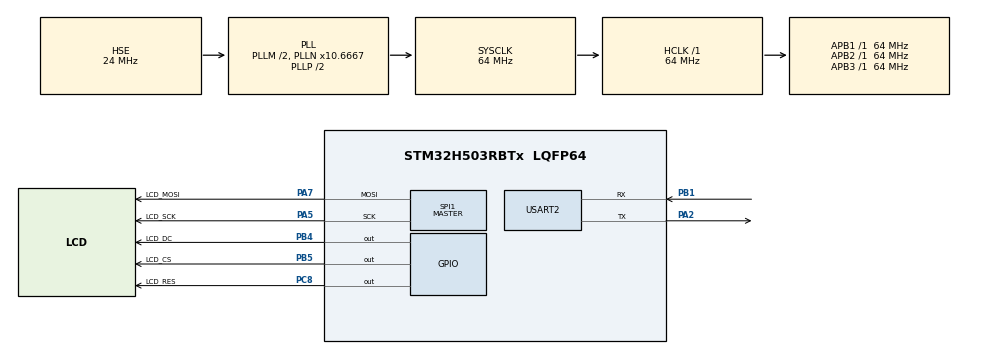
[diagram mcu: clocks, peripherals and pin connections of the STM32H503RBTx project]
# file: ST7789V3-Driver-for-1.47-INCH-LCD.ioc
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BOOTPATH.BootPathName=LEGACY
BOOTPATH.UserSelectedBootPath=LEGACY
GPDMA1.DIRECTION_GPDMACH7=DMA_MEMORY_TO_PERIPH
GPDMA1.IPHANDLE_GPDMACH7-SIMPLEREQUEST_GPDMACH7=__NULL
GPDMA1.REQUEST_GPDMACH7=GPDMA1_REQUEST_SPI1_TX
GPDMA1.SRCINC_GPDMACH7=DMA_SINC_INCREMENTED
Mcu.Family=STM32H5
Mcu.Name=STM32H503RBTx
Mcu.Package=LQFP64
NVIC.GPDMA1_Channel7_IRQn=true\:0\:0\:false\:false\:true\:false\:true\:true
NVIC.ICACHE_IRQn=true\:0\:0\:false\:false\:true\:true\:true\:true
NVIC.PriorityGroup=NVIC_PRIORITYGROUP_4
NVIC.SPI1_IRQn=true\:0\:0\:false\:false\:true\:true\:true\:true
PA13(JTMS/SWDIO).GPIO_Label=T_SWDIO
PA13(JTMS/SWDIO).Signal=DEBUG_JTMS-SWDIO
PA14(JTCK/SWCLK).GPIO_Label=T_SWCLK
PA14(JTCK/SWCLK).Signal=DEBUG_JTCK-SWCLK
PA15(JTDI).GPIO_Label=T_JTDI
PA15(JTDI).Signal=DEBUG_JTDI
PA2.Mode=Asynchronous
PA2.Signal=USART2_TX
PA3.GPIO_Label=T_VCP_RX
PA3.Signal=USART3_RX
PA4.GPIO_Label=T_VCP_TX
PA4.Signal=USART3_TX
PA5.GPIO_Label=LCD_SCK
PA5.GPIO_Speed=GPIO_SPEED_FREQ_HIGH
PA5.Mode=TX_Only_Simplex_Unidirect_Master
PA5.Signal=SPI1_SCK
PA7.GPIO_Label=LCD_MOSI
PA7.GPIO_Speed=GPIO_SPEED_FREQ_HIGH
PA7.Mode=TX_Only_Simplex_Unidirect_Master
PA7.Signal=SPI1_MOSI
PB1.Mode=Asynchronous
PB1.Signal=USART2_RX
PB14.GPIO_Label=ARD_D1_TX
PB14.Signal=USART1_TX
PB15.GPIO_Label=ARD_D0_RX
PB15.Signal=USART1_RX
PB3(JTDO/TRACESWO).GPIO_Label=T_SWO
PB3(JTDO/TRACESWO).Signal=DEBUG_JTDO-SWO
PB4(NJTRST).GPIO_Label=LCD_DC
PB4(NJTRST).GPIO_Speed=GPIO_SPEED_FREQ_HIGH
PB4(NJTRST).Signal=GPIO_Output
PB5.GPIO_Label=LCD_CS
PB5.GPIO_Speed=GPIO_SPEED_FREQ_HIGH
PB5.PinState=GPIO_PIN_SET
PB5.Signal=GPIO_Output
PC8.GPIO_Label=LCD_RES
PC8.GPIO_Speed=GPIO_SPEED_FREQ_HIGH
PC8.Signal=GPIO_Output
PH0-OSC_IN(PH0).Mode=HSE-External-Oscillator
PH0-OSC_IN(PH0).Signal=RCC_OSC_IN
PH1-OSC_OUT(PH1).Mode=HSE-External-Oscillator
PH1-OSC_OUT(PH1).Signal=RCC_OSC_OUT
ProjectManager.HeapSize=0x200
ProjectManager.StackSize=0x400
ProjectManager.TargetToolchain=CMake
RCC.ADCFreq_Value=64000488.28125
RCC.AHBFreq_Value=64000488.28125
RCC.APB1Freq_Value=64000488.28125
RCC.APB1TimFreq_Value=64000488.28125
RCC.APB2Freq_Value=64000488.28125
RCC.APB2TimFreq_Value=64000488.28125
RCC.APB3Freq_Value=64000488.28125
RCC.CSI_VALUE=4000000
RCC.CortexFreq_Value=64000488.28125
RCC.EPOD_VALUE=24000000
RCC.HCLKFreq_Value=64000488.28125
RCC.HSE_VALUE=24000000
RCC.HSI48_VALUE=48000000
RCC.HSIDiv=RCC_HSI_DIV1
RCC.HSI_VALUE=64000000
RCC.LSE_VALUE=32768
RCC.LSIRC_VALUE=32000
RCC.PLL1Q=3
RCC.PLLFRACN=5462
RCC.PLLM=2
RCC.PLLN=10
RCC.PLLSourceVirtual=RCC_PLL1_SOURCE_HSE
RCC.SYSCLKFreq_VALUE=64000488.28125
RCC.SYSCLKSource=RCC_SYSCLKSOURCE_PLLCLK
RCC.USBFreq_Value=48000000
RCC.VCOOutputFreq_Value=128000976.5625
SPI1.BaudRatePrescaler=SPI_BAUDRATEPRESCALER_2
SPI1.CalculateBaudRate=21.333496 MBits/s
SPI1.DataSize=SPI_DATASIZE_8BIT
SPI1.Direction=SPI_DIRECTION_2LINES_TXONLY
SPI1.Mode=SPI_MODE_MASTER
SPI1.VirtualType=VM_MASTER
USART2.VirtualMode-Asynchronous=VM_ASYNC
VP_BOOTPATH_VS_BOOTPATH.Mode=BP_Activate
VP_CORTEX_M33_NS_VS_Hclk.Mode=Hclk_Mode
VP_GPDMA1_VS_GPDMACH7.Mode=SIMPLEREQUEST_GPDMACH7
VP_ICACHE_VS_ICACHE.Mode=DefaultMode
VP_MEMORYMAP_VS_MEMORYMAP.Mode=CurAppReg
VP_PWR_VS_LPOM.Mode=PowerOptimisation
VP_PWR_VS_SECSignals.Mode=Security/Privilege
board=NUCLEO-H503RB

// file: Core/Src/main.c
/* USER CODE BEGIN Header */
/**
 ******************************************************************************
 * @file           : main.c
 * @brief          : Main program body
 ******************************************************************************
 * @attention
 *
 * Copyright (c) 2026 STMicroelectronics.
 * All rights reserved.
 *
 * This software is licensed under terms that can be found in the LICENSE file
 * in the root directory of this software component.
 * If no LICENSE file comes with this software, it is provided AS-IS.
 *
 ******************************************************************************
 */
/* USER CODE END Header */
#include "main.h"

/* USER CODE BEGIN Includes */
#include <stdio.h>

#include "ST7789V3.h"
#include "fonts/fonts.h"

/* USER CODE END Includes */

/* USER CODE BEGIN PD */
#define DEMO_BG 0x040B12U
#define DEMO_TITLE_BG 0x0B1523U
#define DEMO_PANEL_BG 0x091624U
#define DEMO_EDGE 0x1D5168U
#define DEMO_TEXT 0xD4F3FFU
#define DEMO_ACCENT 0x3CEBFFU
#define DEMO_SOFT 0x177C93U
#define DEMO_GOLD 0xFFD166U
#define DEMO_WARN 0xFF6B3DU

/* USER CODE END PD */

SPI_HandleTypeDef hspi1;
DMA_HandleTypeDef handle_GPDMA1_Channel7;

UART_HandleTypeDef huart2;

void SystemClock_Config(void);
static void MX_GPIO_Init(void);
static void MX_GPDMA1_Init(void);
static void MX_USART2_UART_Init(void);
static void MX_SPI1_Init(void);
static void MX_ICACHE_Init(void);

/* USER CODE BEGIN 0 */

ST7789V3_Config config;

int8_t set_cs(ST7789V3_PinState state) {
  HAL_GPIO_WritePin(LCD_CS_GPIO_Port, LCD_CS_Pin, state);
  return 0;
}

int8_t set_dc(ST7789V3_Trans_State state) {
  HAL_GPIO_WritePin(LCD_DC_GPIO_Port, LCD_DC_Pin, state);
  return 0;
}
int8_t set_rst(ST7789V3_PinState state) {
  HAL_GPIO_WritePin(LCD_RES_GPIO_Port, LCD_RES_Pin, state);
  return 0;
}

int8_t spi_write(uint16_t len, const uint8_t *pData) {
  uint8_t status = HAL_SPI_Transmit(&hspi1, pData, len, HAL_MAX_DELAY);

  if (status != HAL_OK) {
    return -1;
  }

  return 0;
}

int8_t spi_write_dma(uint16_t len, const uint8_t *pData) {
  if (HAL_SPI_Transmit_DMA(&hspi1, pData, len) != HAL_OK) {
    return -1;
  }
  return 0;
}

// Called by HAL when DMA transfer finishes — routes into the driver
void HAL_SPI_TxCpltCallback(SPI_HandleTypeDef *hspi) {
  if (hspi->Instance == SPI1) {
    ST7789V3_DMA_Complete(&config);
  }
}

void HAL_SPI_ErrorCallback(SPI_HandleTypeDef *hspi) {
  if (hspi->Instance == SPI1) {
    ST7789V3_DMA_Error(&config);
  }
}

// backlight default on

// int8_t set_backlight(GPIO_Pinstate state) {
//   HAL_GPIO_WritePin(LCD_CS_GPIO_Port, LCD_CS_Pin, state);
// }

static uint8_t DemoTriangle8(uint16_t phase) {
  phase &= 0x01FFU;
  return (phase < 256U) ? (uint8_t)phase : (uint8_t)(511U - phase);
}

static uint16_t DemoWaveRange(uint16_t phase, uint16_t min, uint16_t max) {
  uint16_t span = max - min;
  return min + (((uint32_t)DemoTriangle8(phase) * span) / 255U);
}

static void DemoDrawStaticScene(void) {
  FillScreen(&config, DEMO_BG);

  DrawFilledRectangle(&config, 0, 0, 320, 22, DEMO_TITLE_BG);
  DrawLine(&config, 0, 22, 319, 22, DEMO_EDGE);

  DrawString(&config, 10, 3, "ST7789V3", DEMO_ACCENT, &Font_16x16);
  DrawString(&config, 154, 7, "COUNT", DEMO_TEXT, &Font_8x8);

  DrawRectangle(&config, 55, 28, 210, 96, DEMO_EDGE);
  DrawLine(&config, 55, 46, 264, 46, DEMO_EDGE);
  DrawString(&config, 116, 33, "RECORDING IN", DEMO_GOLD, &Font_8x8);

  DrawRectangle(&config, 39, 150, 242, 14, DEMO_EDGE);
  DrawString(&config, 12, 154, "LOOP", DEMO_TEXT, &Font_8x8);
  DrawString(&config, 286, 154, "GO", DEMO_TEXT, &Font_8x8);
}

static void DemoDrawCountdownFrame(uint32_t elapsed_ms) {
  char text[24];
  uint32_t cycle_ms = 11000U;
  uint32_t phase_ms = elapsed_ms % cycle_ms;
  uint16_t remaining = (uint16_t)(10U - (phase_ms / 1000U));
  uint16_t ring = DemoWaveRange((uint16_t)(remaining * 41U), 18U, 34U);
  uint16_t progress = (uint16_t)(((cycle_ms - phase_ms) * 236U) / cycle_ms);
  uint16_t number_width = (remaining >= 10U) ? 96U : 48U;
  uint16_t number_x = (uint16_t)(160U - (number_width / 2U));
  uint32_t accent = (remaining <= 3U) ? DEMO_WARN : DEMO_ACCENT;

  DrawFilledRectangle(&config, 58, 49, 204, 72, DEMO_PANEL_BG);
  DrawCircle(&config, 160, 85, 36, DEMO_SOFT);
  DrawCircle(&config, 160, 85, ring, accent);
  DrawFilledCircle(&config, 160, 85, 8, accent);

  snprintf(text, sizeof(text), "%u", (unsigned int)remaining);
  DrawString(&config, number_x, 60, text, DEMO_TEXT, &Font_48x48);

  DrawFilledRectangle(&config, 20, 126, 280, 14, DEMO_BG);
  snprintf(text, sizeof(text), "NEXT LOOP IN %u SEC",
           (unsigned int)remaining);
  DrawString(&config, 89, 128, text, accent, &Font_8x8);

  DrawFilledRectangle(&config, 42, 153, 236, 8, DEMO_PANEL_BG);
  if (progress > 0U) {
    DrawFilledRectangle(&config, 42, 153, progress, 8, accent);
  }

  DrawFilledRectangle(&config, 214, 4, 96, 14, DEMO_TITLE_BG);
  if ((remaining == 0U) && (((phase_ms / 150U) & 1U) != 0U)) {
    DrawString(&config, 226, 6, "CAPTURE", DEMO_WARN, &Font_8x8);
  } else {
    DrawString(&config, 232, 6, "READY", DEMO_GOLD, &Font_8x8);
  }
}

/* USER CODE END 0 */

int main(void)
{

  /* USER CODE BEGIN 1 */
  config.set_cs = set_cs;
  config.set_dc = set_dc;
  config.set_rst = set_rst;

  config.spi_write = spi_write;
  config.spi_write_dma = spi_write_dma;  // Set to NULL to disable DMA
  config.delay_ms = HAL_Delay;
  config.State = ST7789_STATE_READY;

  config.LCD_Width = 172;
  config.LCD_Height = 320;

  /* USER CODE END 1 */

  /* MCU Configuration--------------------------------------------------------*/

  /* Reset of all peripherals, Initializes the Flash interface and the Systick. */
  HAL_Init();

  /* Configure the system clock */
  SystemClock_Config();

  /* Initialize all configured peripherals */
  MX_GPIO_Init();
  MX_GPDMA1_Init();
  MX_USART2_UART_Init();
  MX_SPI1_Init();
  MX_ICACHE_Init();
  /* USER CODE BEGIN 2 */
  ST7789V3_init(&config);
  InvertDisplay(&config, INVOFF);
  SetRotation(&config, Landscape);
  DemoDrawStaticScene();
  DemoDrawCountdownFrame(0U);

  /* USER CODE END 2 */

  /* Infinite loop */
  /* USER CODE BEGIN WHILE */
  while (1) {
    static uint32_t last_second = 0xFFFFFFFFU;
    uint32_t elapsed_ms = HAL_GetTick();
    uint32_t current_second = elapsed_ms / 1000U;

    if (current_second != last_second) {
      DemoDrawCountdownFrame(elapsed_ms);
      last_second = current_second;
    }
    HAL_Delay(20);
    /* USER CODE END WHILE */

  }
}

void SystemClock_Config(void)
{
  RCC_OscInitTypeDef RCC_OscInitStruct = {0};
  RCC_ClkInitTypeDef RCC_ClkInitStruct = {0};

  /** Configure the main internal regulator output voltage
  */
  __HAL_PWR_VOLTAGESCALING_CONFIG(PWR_REGULATOR_VOLTAGE_SCALE3);

  while(!__HAL_PWR_GET_FLAG(PWR_FLAG_VOSRDY)) {}

  /** Initializes the RCC Oscillators according to the specified parameters
  * in the RCC_OscInitTypeDef structure.
  */
  RCC_OscInitStruct.OscillatorType = RCC_OSCILLATORTYPE_HSE;
  RCC_OscInitStruct.HSEState = RCC_HSE_ON;
  RCC_OscInitStruct.PLL.PLLState = RCC_PLL_ON;
  RCC_OscInitStruct.PLL.PLLSource = RCC_PLL1_SOURCE_HSE;
  RCC_OscInitStruct.PLL.PLLM = 2;
  RCC_OscInitStruct.PLL.PLLN = 10;
  RCC_OscInitStruct.PLL.PLLP = 2;
  RCC_OscInitStruct.PLL.PLLQ = 3;
  RCC_OscInitStruct.PLL.PLLR = 2;
  RCC_OscInitStruct.PLL.PLLRGE = RCC_PLL1_VCIRANGE_3;
  RCC_OscInitStruct.PLL.PLLVCOSEL = RCC_PLL1_VCORANGE_WIDE;
  RCC_OscInitStruct.PLL.PLLFRACN = 5462;
  if (HAL_RCC_OscConfig(&RCC_OscInitStruct) != HAL_OK)
  {
    Error_Handler();
  }

  /** Initializes the CPU, AHB and APB buses clocks
  */
  RCC_ClkInitStruct.ClockType = RCC_CLOCKTYPE_HCLK|RCC_CLOCKTYPE_SYSCLK
                              |RCC_CLOCKTYPE_PCLK1|RCC_CLOCKTYPE_PCLK2
                              |RCC_CLOCKTYPE_PCLK3;
  RCC_ClkInitStruct.SYSCLKSource = RCC_SYSCLKSOURCE_PLLCLK;
  RCC_ClkInitStruct.AHBCLKDivider = RCC_SYSCLK_DIV1;
  RCC_ClkInitStruct.APB1CLKDivider = RCC_HCLK_DIV1;
  RCC_ClkInitStruct.APB2CLKDivider = RCC_HCLK_DIV1;
  RCC_ClkInitStruct.APB3CLKDivider = RCC_HCLK_DIV1;

  if (HAL_RCC_ClockConfig(&RCC_ClkInitStruct, FLASH_LATENCY_3) != HAL_OK)
  {
    Error_Handler();
  }

  /** Configure the programming delay
  */
  __HAL_FLASH_SET_PROGRAM_DELAY(FLASH_PROGRAMMING_DELAY_1);
}

static void MX_GPDMA1_Init(void)
{

  /* Peripheral clock enable */
  __HAL_RCC_GPDMA1_CLK_ENABLE();

  /* GPDMA1 interrupt Init */
    HAL_NVIC_SetPriority(GPDMA1_Channel7_IRQn, 0, 0);
    HAL_NVIC_EnableIRQ(GPDMA1_Channel7_IRQn);

}

static void MX_ICACHE_Init(void)
{

  /** Enable instruction cache (default 2-ways set associative cache)
  */
  if (HAL_ICACHE_Enable() != HAL_OK)
  {
    Error_Handler();
  }

}

static void MX_SPI1_Init(void)
{

  /* SPI1 parameter configuration*/
  hspi1.Instance = SPI1;
  hspi1.Init.Mode = SPI_MODE_MASTER;
  hspi1.Init.Direction = SPI_DIRECTION_2LINES_TXONLY;
  hspi1.Init.DataSize = SPI_DATASIZE_8BIT;
  hspi1.Init.CLKPolarity = SPI_POLARITY_LOW;
  hspi1.Init.CLKPhase = SPI_PHASE_1EDGE;
  hspi1.Init.NSS = SPI_NSS_SOFT;
  hspi1.Init.BaudRatePrescaler = SPI_BAUDRATEPRESCALER_2;
  hspi1.Init.FirstBit = SPI_FIRSTBIT_MSB;
  hspi1.Init.TIMode = SPI_TIMODE_DISABLE;
  hspi1.Init.CRCCalculation = SPI_CRCCALCULATION_DISABLE;
  hspi1.Init.CRCPolynomial = 0x7;
  hspi1.Init.NSSPMode = SPI_NSS_PULSE_ENABLE;
  hspi1.Init.NSSPolarity = SPI_NSS_POLARITY_LOW;
  hspi1.Init.FifoThreshold = SPI_FIFO_THRESHOLD_01DATA;
  hspi1.Init.MasterSSIdleness = SPI_MASTER_SS_IDLENESS_00CYCLE;
  hspi1.Init.MasterInterDataIdleness = SPI_MASTER_INTERDATA_IDLENESS_00CYCLE;
  hspi1.Init.MasterReceiverAutoSusp = SPI_MASTER_RX_AUTOSUSP_DISABLE;
  hspi1.Init.MasterKeepIOState = SPI_MASTER_KEEP_IO_STATE_DISABLE;
  hspi1.Init.IOSwap = SPI_IO_SWAP_DISABLE;
  hspi1.Init.ReadyMasterManagement = SPI_RDY_MASTER_MANAGEMENT_INTERNALLY;
  hspi1.Init.ReadyPolarity = SPI_RDY_POLARITY_HIGH;
  if (HAL_SPI_Init(&hspi1) != HAL_OK)
  {
    Error_Handler();
  }

}

static void MX_USART2_UART_Init(void)
{

  huart2.Instance = USART2;
  huart2.Init.BaudRate = 115200;
  huart2.Init.WordLength = UART_WORDLENGTH_8B;
  huart2.Init.StopBits = UART_STOPBITS_1;
  huart2.Init.Parity = UART_PARITY_NONE;
  huart2.Init.Mode = UART_MODE_TX_RX;
  huart2.Init.HwFlowCtl = UART_HWCONTROL_NONE;
  huart2.Init.OverSampling = UART_OVERSAMPLING_16;
  huart2.Init.OneBitSampling = UART_ONE_BIT_SAMPLE_DISABLE;
  huart2.Init.ClockPrescaler = UART_PRESCALER_DIV1;
  huart2.AdvancedInit.AdvFeatureInit = UART_ADVFEATURE_NO_INIT;
  if (HAL_UART_Init(&huart2) != HAL_OK)
  {
    Error_Handler();
  }
  if (HAL_UARTEx_SetTxFifoThreshold(&huart2, UART_TXFIFO_THRESHOLD_1_8) != HAL_OK)
  {
    Error_Handler();
  }
  if (HAL_UARTEx_SetRxFifoThreshold(&huart2, UART_RXFIFO_THRESHOLD_1_8) != HAL_OK)
  {
    Error_Handler();
  }
  if (HAL_UARTEx_DisableFifoMode(&huart2) != HAL_OK)
  {
    Error_Handler();
  }

}

static void MX_GPIO_Init(void)
{
  GPIO_InitTypeDef GPIO_InitStruct = {0};

  /* GPIO Ports Clock Enable */
  __HAL_RCC_GPIOH_CLK_ENABLE();
  __HAL_RCC_GPIOA_CLK_ENABLE();
  __HAL_RCC_GPIOB_CLK_ENABLE();
  __HAL_RCC_GPIOC_CLK_ENABLE();

  /*Configure GPIO pin Output Level */
  HAL_GPIO_WritePin(LCD_RES_GPIO_Port, LCD_RES_Pin, GPIO_PIN_RESET);

  /*Configure GPIO pin Output Level */
  HAL_GPIO_WritePin(LCD_DC_GPIO_Port, LCD_DC_Pin, GPIO_PIN_RESET);

  /*Configure GPIO pin Output Level */
  HAL_GPIO_WritePin(LCD_CS_GPIO_Port, LCD_CS_Pin, GPIO_PIN_SET);

  /*Configure GPIO pins : T_VCP_RX_Pin T_VCP_TX_Pin */
  GPIO_InitStruct.Pin = T_VCP_RX_Pin|T_VCP_TX_Pin;
  GPIO_InitStruct.Mode = GPIO_MODE_AF_PP;
  GPIO_InitStruct.Pull = GPIO_NOPULL;
  GPIO_InitStruct.Speed = GPIO_SPEED_FREQ_LOW;
  GPIO_InitStruct.Alternate = GPIO_AF13_USART3;
  HAL_GPIO_Init(GPIOA, &GPIO_InitStruct);

  /*Configure GPIO pins : ARD_D1_TX_Pin ARD_D0_RX_Pin */
  GPIO_InitStruct.Pin = ARD_D1_TX_Pin|ARD_D0_RX_Pin;
  GPIO_InitStruct.Mode = GPIO_MODE_AF_PP;
  GPIO_InitStruct.Pull = GPIO_NOPULL;
  GPIO_InitStruct.Speed = GPIO_SPEED_FREQ_LOW;
  GPIO_InitStruct.Alternate = GPIO_AF4_USART1;
  HAL_GPIO_Init(GPIOB, &GPIO_InitStruct);

  /*Configure GPIO pin : LCD_RES_Pin */
  GPIO_InitStruct.Pin = LCD_RES_Pin;
  GPIO_InitStruct.Mode = GPIO_MODE_OUTPUT_PP;
  GPIO_InitStruct.Pull = GPIO_NOPULL;
  GPIO_InitStruct.Speed = GPIO_SPEED_FREQ_HIGH;
  HAL_GPIO_Init(LCD_RES_GPIO_Port, &GPIO_InitStruct);

  /*Configure GPIO pins : LCD_DC_Pin LCD_CS_Pin */
  GPIO_InitStruct.Pin = LCD_DC_Pin|LCD_CS_Pin;
  GPIO_InitStruct.Mode = GPIO_MODE_OUTPUT_PP;
  GPIO_InitStruct.Pull = GPIO_NOPULL;
  GPIO_InitStruct.Speed = GPIO_SPEED_FREQ_HIGH;
  HAL_GPIO_Init(GPIOB, &GPIO_InitStruct);

}

void Error_Handler(void)
{
  __disable_irq();
  while (1) {
  }
}
#ifdef USE_FULL_ASSERT
/**
  * @brief  Reports the name of the source file and the source line number
  *         where the assert_param error has occurred.
  * @param  file: pointer to the source file name
  * @param  line: assert_param error line source number
  * @retval None
  */
void assert_failed(uint8_t *file, uint32_t line)
{
  /* USER CODE BEGIN 6 */
  /* User can add his own implementation to report the file name and line
     number, ex: printf("Wrong parameters value: file %s on line %d\r\n", file,
     line) */
  /* USER CODE END 6 */
}
#endif /* USE_FULL_ASSERT */
